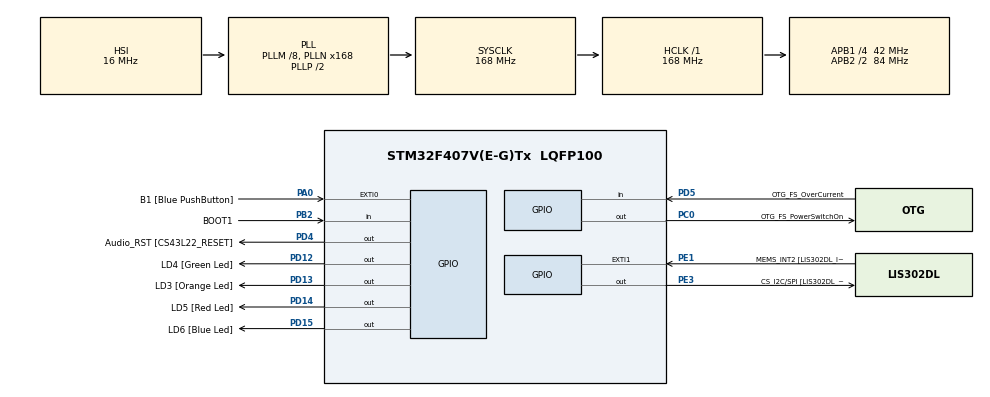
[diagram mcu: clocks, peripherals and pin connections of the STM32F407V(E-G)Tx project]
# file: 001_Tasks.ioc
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Mcu.Family=STM32F4
PA11.GPIO_Speed=GPIO_SPEED_FREQ_LOW
PC3.GPIO_Mode=GPIO_MODE_AF_PP
PD12.GPIO_Label=LD4 [Green Led]
PH0-OSC_IN.Signal=RCC_OSC_IN
VP_SYS_VS_tim6.Mode=TIM6
RCC.CortexFreq_Value=168000000
PC10.GPIO_PuPd=GPIO_NOPULL
PB10.GPIO_Speed=GPIO_SPEED_FREQ_LOW
PB6.GPIO_Mode=GPIO_MODE_AF_OD
PB10.GPIO_PuPd=GPIO_NOPULL
NVIC.TIM6_DAC_IRQn=true\:0\:0\:false\:false\:true\:false\:true
PA10.GPIO_PuPd=GPIO_NOPULL
PD15.GPIO_Speed=GPIO_SPEED_FREQ_LOW
PC10.Signal=I2S3_CK
PC12.Signal=I2S3_SD
PA14.GPIO_Label=SWCLK
PA7.GPIO_Mode=GPIO_MODE_AF_PP
PC0.GPIO_Label=OTG_FS_PowerSwitchOn
PA6.GPIO_Label=SPI1_MISO [LIS302DL_SDO]
PB6.GPIO_Label=Audio_SCL [CS43L22_SCL]
PC10.GPIO_Speed=GPIO_SPEED_FREQ_LOW
PA11.GPIO_PuPd=GPIO_NOPULL
PC15-OSC32_OUT.GPIO_Label=PC15-OSC32_OUT
PC3.GPIO_Speed=GPIO_SPEED_FREQ_LOW
RCC.SYSCLKSource=RCC_SYSCLKSOURCE_PLLCLK
ProjectManager.StackSize=0x400
PA6.GPIO_Mode=GPIO_MODE_AF_PP
PD13.Signal=GPIO_Output
PD14.GPIO_Speed=GPIO_SPEED_FREQ_LOW
PA12.Signal=USB_OTG_FS_DP
RCC.HCLKFreq_Value=168000000
PD4.Signal=GPIO_Output
RCC.APB2TimFreq_Value=168000000
PB6.Signal=I2C1_SCL
PC7.Signal=I2S3_MCK
PC3.Signal=I2S2_SD
PE1.Signal=GPXTI1
RCC.AHBFreq_Value=168000000
PH0-OSC_IN.GPIO_Label=PH0-OSC_IN
PA9.GPIO_Mode=GPIO_MODE_INPUT
RCC.HSE_VALUE=8000000
PA4.GPIO_PuPd=GPIO_NOPULL
PB2.Signal=GPIO_Input
PA4.GPIO_Speed=GPIO_SPEED_FREQ_LOW
PA6.GPIO_PuPd=GPIO_NOPULL
PA5.GPIO_PuPd=GPIO_NOPULL
PA10.GPIO_Label=OTG_FS_ID
PC7.GPIO_Mode=GPIO_MODE_AF_PP
PD5.GPIO_Mode=GPIO_MODE_INPUT
PD14.GPIO_PuPd=GPIO_NOPULL
PB2.GPIO_PuPd=GPIO_NOPULL
PD13.GPIO_Label=LD3 [Orange Led]
Mcu.Package=LQFP100
PB9.Signal=I2C1_SDA
PA6.Signal=SPI1_MISO
NVIC.TimeBase=TIM6_DAC_IRQn
PD12.Signal=GPIO_Output
PD5.GPIO_Label=OTG_FS_OverCurrent
PD15.GPIO_PuPd=GPIO_NOPULL
NVIC.TimeBaseIP=TIM6
PA10.Signal=USB_OTG_FS_ID
PB9.GPIO_PuPd=GPIO_NOPULL
PA10.GPIO_Speed=GPIO_SPEED_FREQ_LOW
RCC.APB2CLKDivider=RCC_HCLK_DIV2
PB9.GPIO_Speed=GPIO_SPEED_FREQ_LOW
RCC.APB1TimFreq_Value=84000000
PC14-OSC32_IN.GPIO_Label=PC14-OSC32_IN
PC12.GPIO_PuPd=GPIO_NOPULL
PA6.GPIO_Speed=GPIO_SPEED_FREQ_LOW
PC0.GPIO_PuPd=GPIO_NOPULL
PA12.GPIO_PuPd=GPIO_NOPULL
PA4.GPIO_Label=I2S3_WS [CS43L22_LRCK]
PD15.Signal=GPIO_Output
PC0.PinState=GPIO_PIN_SET
PA12.GPIO_Speed=GPIO_SPEED_FREQ_LOW
PB3.GPIO_Label=SWO
PD12.GPIO_Speed=GPIO_SPEED_FREQ_LOW
PD15.GPIO_Label=LD6 [Blue Led]
PB9.GPIO_Label=Audio_SDA [CS43L22_SDA]
PC10.GPIO_Label=I2S3_SCK [CS43L22_SCLK]
PA9.GPIO_Label=VBUS_FS
PB6.GPIO_PuPd=GPIO_NOPULL
PA11.GPIO_Label=OTG_FS_DM
PE1.GPIO_PuPd=GPIO_NOPULL
PD5.Signal=GPIO_Input
PC0.Signal=GPIO_Output
PE1.GPIO_ModeDefaultEXTI=GPIO_MODE_EVT_RISING
RCC.APB1CLKDivider=RCC_HCLK_DIV4
PC14-OSC32_IN.Signal=RCC_OSC32_IN
PA9.GPIO_PuPd=GPIO_NOPULL
PA12.GPIO_Label=OTG_FS_DP
PA0-WKUP.GPIO_Label=B1 [Blue PushButton]
PA0-WKUP.Signal=GPXTI0
PA10.GPIO_Mode=GPIO_MODE_AF_PP
PA13.Signal=SYS_JTMS-SWDIO
PC10.GPIO_Mode=GPIO_MODE_AF_PP
PD4.GPIO_PuPd=GPIO_NOPULL
PC0.GPIO_Speed=GPIO_SPEED_FREQ_LOW
PB10.GPIO_Mode=GPIO_MODE_AF_PP
ProjectManager.TargetToolchain=STM32CubeIDE
PB10.GPIO_Label=CLK_IN [MP45DT02_CLK]
PA9.Signal=USB_OTG_FS_VBUS
PC7.GPIO_PuPd=GPIO_NOPULL
RCC.LSE_VALUE=32768
PC15-OSC32_OUT.Signal=RCC_OSC32_OUT
PA7.GPIO_PuPd=GPIO_NOPULL
PB10.Signal=I2S2_CK
PA5.Signal=SPI1_SCK
board=STM32F407G-DISC1
PD13.GPIO_Speed=GPIO_SPEED_FREQ_LOW
PC7.GPIO_Speed=GPIO_SPEED_FREQ_LOW
RCC.VCOOutputFreq_Value=336000000
PE1.GPIO_Label=MEMS_INT2 [LIS302DL_INT2]
PA7.GPIO_Speed=GPIO_SPEED_FREQ_LOW
PB9.GPIO_Mode=GPIO_MODE_AF_OD
PA12.GPIO_Mode=GPIO_MODE_AF_PP
PA4.GPIO_Mode=GPIO_MODE_AF_PP
RCC.APB2Freq_Value=84000000
PB2.GPIO_Mode=GPIO_MODE_INPUT
PD4.GPIO_Label=Audio_RST [CS43L22_RESET]
PD4.GPIO_Speed=GPIO_SPEED_FREQ_LOW
PE3.GPIO_PuPd=GPIO_NOPULL
PH1-OSC_OUT.Signal=RCC_OSC_OUT
PD13.GPIO_PuPd=GPIO_NOPULL
PD5.GPIO_PuPd=GPIO_NOPULL
PD14.GPIO_Label=LD5 [Red Led]
PH1-OSC_OUT.GPIO_Label=PH1-OSC_OUT
Mcu.Name=STM32F407V(E-G)Tx
PA13.GPIO_Label=SWDIO
PC7.GPIO_Label=I2S3_MCK [CS43L22_MCLK]
PD14.Signal=GPIO_Output
RCC.48MHZClocksFreq_Value=48000000
PB3.Signal=SYS_JTDO-SWO
PA4.Signal=I2S3_WS
RCC.SYSCLKFreq_VALUE=168000000
PC12.GPIO_Mode=GPIO_MODE_AF_PP
PA7.GPIO_Label=SPI1_MOSI [LIS302DL_SDA/SDI/SDO]
PA5.GPIO_Label=SPI1_SCK [LIS302DL_SCL/SPC]
PE3.GPIO_Speed=GPIO_SPEED_FREQ_LOW
PC12.GPIO_Label=I2S3_SD [CS43L22_SDIN]
PA11.Signal=USB_OTG_FS_DM
PA14.Signal=SYS_JTCK-SWCLK
PB2.GPIO_Label=BOOT1
ProjectManager.HeapSize=0x200
RCC.HSI_VALUE=16000000
PA5.GPIO_Speed=GPIO_SPEED_FREQ_LOW
RCC.PLLQ=7
NVIC.PriorityGroup=NVIC_PRIORITYGROUP_4
RCC.PLLM=8
RCC.PLLN=168
PE3.Signal=GPIO_Output
PE3.GPIO_Label=CS_I2C/SPI [LIS302DL_CS_I2C/SPI]
PC3.GPIO_Label=PDM_OUT [MP45DT02_DOUT]
PA11.GPIO_Mode=GPIO_MODE_AF_PP
PB6.GPIO_Speed=GPIO_SPEED_FREQ_LOW
RCC.APB1Freq_Value=42000000
PA5.GPIO_Mode=GPIO_MODE_AF_PP
PC12.GPIO_Speed=GPIO_SPEED_FREQ_LOW
PC3.GPIO_PuPd=GPIO_NOPULL
PD12.GPIO_PuPd=GPIO_NOPULL
PA7.Signal=SPI1_MOSI

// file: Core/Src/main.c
/* USER CODE BEGIN Header */
/**
  ******************************************************************************
  * @file           : main.c
  * @brief          : Main program body
  ******************************************************************************
  * @attention
  *
  * <h2><center>&copy; Copyright (c) 2021 STMicroelectronics.
  * All rights reserved.</center></h2>
  *
  * This software component is licensed by ST under BSD 3-Clause license,
  * the "License"; You may not use this file except in compliance with the
  * License. You may obtain a copy of the License at:
  *                        opensource.org/licenses/BSD-3-Clause
  *
  ******************************************************************************
  */
/* USER CODE END Header */
#include "main.h"

/* USER CODE BEGIN Includes */
#include <stdio.h>
#include "FreeRTOS.h"
#include "task.h"
/* USER CODE END Includes */

/* USER CODE BEGIN PV */
#define DWT_CTRL	(*(volatile uint32_t*)0xE0001000) //Control register to enable cycling counting

/* USER CODE END PV */

void SystemClock_Config(void);
static void MX_GPIO_Init(void);
/* USER CODE BEGIN PFP */
static void task1_handler(void *param);
static void task2_handler(void *param);
/* USER CODE END PFP */

int main(void)
{
  /* USER CODE BEGIN 1 */
	TaskHandle_t hTask1;
	TaskHandle_t hTask2;
	BaseType_t ret;

  /* USER CODE END 1 */

  /* MCU Configuration--------------------------------------------------------*/

  /* Reset of all peripherals, Initializes the Flash interface and the Systick. */
  HAL_Init();

  /* Configure the system clock */
  SystemClock_Config();

  /* Initialize all configured peripherals */
  MX_GPIO_Init();
  /* USER CODE BEGIN 2 */

  // Enable cyclic counting by setting 1st bit to 1 in DWT_CTRL register
  DWT_CTRL |= (1 << 0);

  // Enable UART with 500K baudrate
  SEGGER_UART_init(500000);

  // Configure and then start the recording of events
  SEGGER_SYSVIEW_Conf();
  //SEGGER_SYSVIEW_Start(); // commented bcoz already done above in SEGGER_UART_init

  ret = xTaskCreate(task1_handler, "Task-1", 50, "Hello World from Task-1!", 2, &hTask1);
  configASSERT(ret == pdPASS);

  ret = xTaskCreate(task2_handler, "Task-2", 50, "Hello World from Task-2!", 2, &hTask2);
  configASSERT(ret == pdPASS);

  vTaskStartScheduler();//never returns unless there is not enough heap

  printf("errCOULD_NOT_ALLOCATE_REQUIRED_MEMORY\n");
  /* USER CODE END 2 */

  /* Infinite loop */
  while (1)
  {

  }
}

void SystemClock_Config(void)
{
  RCC_OscInitTypeDef RCC_OscInitStruct = {0};
  RCC_ClkInitTypeDef RCC_ClkInitStruct = {0};

  /** Configure the main internal regulator output voltage
  */
  __HAL_RCC_PWR_CLK_ENABLE();
  __HAL_PWR_VOLTAGESCALING_CONFIG(PWR_REGULATOR_VOLTAGE_SCALE1);
  /** Initializes the RCC Oscillators according to the specified parameters
  * in the RCC_OscInitTypeDef structure.
  */
  RCC_OscInitStruct.OscillatorType = RCC_OSCILLATORTYPE_HSI;
  RCC_OscInitStruct.HSIState = RCC_HSI_ON;
  RCC_OscInitStruct.HSICalibrationValue = RCC_HSICALIBRATION_DEFAULT;
  RCC_OscInitStruct.PLL.PLLState = RCC_PLL_ON;
  RCC_OscInitStruct.PLL.PLLSource = RCC_PLLSOURCE_HSI;
  RCC_OscInitStruct.PLL.PLLM = 8;
  RCC_OscInitStruct.PLL.PLLN = 168;
  RCC_OscInitStruct.PLL.PLLP = RCC_PLLP_DIV2;
  RCC_OscInitStruct.PLL.PLLQ = 7;
  if (HAL_RCC_OscConfig(&RCC_OscInitStruct) != HAL_OK)
  {
    Error_Handler();
  }
  /** Initializes the CPU, AHB and APB buses clocks
  */
  RCC_ClkInitStruct.ClockType = RCC_CLOCKTYPE_HCLK|RCC_CLOCKTYPE_SYSCLK
                              |RCC_CLOCKTYPE_PCLK1|RCC_CLOCKTYPE_PCLK2;
  RCC_ClkInitStruct.SYSCLKSource = RCC_SYSCLKSOURCE_PLLCLK;
  RCC_ClkInitStruct.AHBCLKDivider = RCC_SYSCLK_DIV1;
  RCC_ClkInitStruct.APB1CLKDivider = RCC_HCLK_DIV4;
  RCC_ClkInitStruct.APB2CLKDivider = RCC_HCLK_DIV2;

  if (HAL_RCC_ClockConfig(&RCC_ClkInitStruct, FLASH_LATENCY_5) != HAL_OK)
  {
    Error_Handler();
  }
}

static void MX_GPIO_Init(void)
{
  GPIO_InitTypeDef GPIO_InitStruct = {0};

  /* GPIO Ports Clock Enable */
  __HAL_RCC_GPIOE_CLK_ENABLE();
  __HAL_RCC_GPIOC_CLK_ENABLE();
  __HAL_RCC_GPIOH_CLK_ENABLE();
  __HAL_RCC_GPIOA_CLK_ENABLE();
  __HAL_RCC_GPIOB_CLK_ENABLE();
  __HAL_RCC_GPIOD_CLK_ENABLE();

  /*Configure GPIO pin Output Level */
  HAL_GPIO_WritePin(CS_I2C_SPI_GPIO_Port, CS_I2C_SPI_Pin, GPIO_PIN_RESET);

  /*Configure GPIO pin Output Level */
  HAL_GPIO_WritePin(OTG_FS_PowerSwitchOn_GPIO_Port, OTG_FS_PowerSwitchOn_Pin, GPIO_PIN_SET);

  /*Configure GPIO pin Output Level */
  HAL_GPIO_WritePin(GPIOD, LD4_Pin|LD3_Pin|LD5_Pin|LD6_Pin
                          |Audio_RST_Pin, GPIO_PIN_RESET);

  /*Configure GPIO pin : CS_I2C_SPI_Pin */
  GPIO_InitStruct.Pin = CS_I2C_SPI_Pin;
  GPIO_InitStruct.Mode = GPIO_MODE_OUTPUT_PP;
  GPIO_InitStruct.Pull = GPIO_NOPULL;
  GPIO_InitStruct.Speed = GPIO_SPEED_FREQ_LOW;
  HAL_GPIO_Init(CS_I2C_SPI_GPIO_Port, &GPIO_InitStruct);

  /*Configure GPIO pin : OTG_FS_PowerSwitchOn_Pin */
  GPIO_InitStruct.Pin = OTG_FS_PowerSwitchOn_Pin;
  GPIO_InitStruct.Mode = GPIO_MODE_OUTPUT_PP;
  GPIO_InitStruct.Pull = GPIO_NOPULL;
  GPIO_InitStruct.Speed = GPIO_SPEED_FREQ_LOW;
  HAL_GPIO_Init(OTG_FS_PowerSwitchOn_GPIO_Port, &GPIO_InitStruct);

  /*Configure GPIO pin : PDM_OUT_Pin */
  GPIO_InitStruct.Pin = PDM_OUT_Pin;
  GPIO_InitStruct.Mode = GPIO_MODE_AF_PP;
  GPIO_InitStruct.Pull = GPIO_NOPULL;
  GPIO_InitStruct.Speed = GPIO_SPEED_FREQ_LOW;
  GPIO_InitStruct.Alternate = GPIO_AF5_SPI2;
  HAL_GPIO_Init(PDM_OUT_GPIO_Port, &GPIO_InitStruct);

  /*Configure GPIO pin : B1_Pin */
  GPIO_InitStruct.Pin = B1_Pin;
  GPIO_InitStruct.Mode = GPIO_MODE_IT_RISING;
  GPIO_InitStruct.Pull = GPIO_NOPULL;
  HAL_GPIO_Init(B1_GPIO_Port, &GPIO_InitStruct);

  /*Configure GPIO pin : I2S3_WS_Pin */
  GPIO_InitStruct.Pin = I2S3_WS_Pin;
  GPIO_InitStruct.Mode = GPIO_MODE_AF_PP;
  GPIO_InitStruct.Pull = GPIO_NOPULL;
  GPIO_InitStruct.Speed = GPIO_SPEED_FREQ_LOW;
  GPIO_InitStruct.Alternate = GPIO_AF6_SPI3;
  HAL_GPIO_Init(I2S3_WS_GPIO_Port, &GPIO_InitStruct);

  /*Configure GPIO pins : SPI1_SCK_Pin SPI1_MISO_Pin SPI1_MOSI_Pin */
  GPIO_InitStruct.Pin = SPI1_SCK_Pin|SPI1_MISO_Pin|SPI1_MOSI_Pin;
  GPIO_InitStruct.Mode = GPIO_MODE_AF_PP;
  GPIO_InitStruct.Pull = GPIO_NOPULL;
  GPIO_InitStruct.Speed = GPIO_SPEED_FREQ_LOW;
  GPIO_InitStruct.Alternate = GPIO_AF5_SPI1;
  HAL_GPIO_Init(GPIOA, &GPIO_InitStruct);

  /*Configure GPIO pin : BOOT1_Pin */
  GPIO_InitStruct.Pin = BOOT1_Pin;
  GPIO_InitStruct.Mode = GPIO_MODE_INPUT;
  GPIO_InitStruct.Pull = GPIO_NOPULL;
  HAL_GPIO_Init(BOOT1_GPIO_Port, &GPIO_InitStruct);

  /*Configure GPIO pin : CLK_IN_Pin */
  GPIO_InitStruct.Pin = CLK_IN_Pin;
  GPIO_InitStruct.Mode = GPIO_MODE_AF_PP;
  GPIO_InitStruct.Pull = GPIO_NOPULL;
  GPIO_InitStruct.Speed = GPIO_SPEED_FREQ_LOW;
  GPIO_InitStruct.Alternate = GPIO_AF5_SPI2;
  HAL_GPIO_Init(CLK_IN_GPIO_Port, &GPIO_InitStruct);

  /*Configure GPIO pins : LD4_Pin LD3_Pin LD5_Pin LD6_Pin
                           Audio_RST_Pin */
  GPIO_InitStruct.Pin = LD4_Pin|LD3_Pin|LD5_Pin|LD6_Pin
                          |Audio_RST_Pin;
  GPIO_InitStruct.Mode = GPIO_MODE_OUTPUT_PP;
  GPIO_InitStruct.Pull = GPIO_NOPULL;
  GPIO_InitStruct.Speed = GPIO_SPEED_FREQ_LOW;
  HAL_GPIO_Init(GPIOD, &GPIO_InitStruct);

  /*Configure GPIO pins : I2S3_MCK_Pin I2S3_SCK_Pin I2S3_SD_Pin */
  GPIO_InitStruct.Pin = I2S3_MCK_Pin|I2S3_SCK_Pin|I2S3_SD_Pin;
  GPIO_InitStruct.Mode = GPIO_MODE_AF_PP;
  GPIO_InitStruct.Pull = GPIO_NOPULL;
  GPIO_InitStruct.Speed = GPIO_SPEED_FREQ_LOW;
  GPIO_InitStruct.Alternate = GPIO_AF6_SPI3;
  HAL_GPIO_Init(GPIOC, &GPIO_InitStruct);

  /*Configure GPIO pin : VBUS_FS_Pin */
  GPIO_InitStruct.Pin = VBUS_FS_Pin;
  GPIO_InitStruct.Mode = GPIO_MODE_INPUT;
  GPIO_InitStruct.Pull = GPIO_NOPULL;
  HAL_GPIO_Init(VBUS_FS_GPIO_Port, &GPIO_InitStruct);

  /*Configure GPIO pins : OTG_FS_ID_Pin OTG_FS_DM_Pin OTG_FS_DP_Pin */
  GPIO_InitStruct.Pin = OTG_FS_ID_Pin|OTG_FS_DM_Pin|OTG_FS_DP_Pin;
  GPIO_InitStruct.Mode = GPIO_MODE_AF_PP;
  GPIO_InitStruct.Pull = GPIO_NOPULL;
  GPIO_InitStruct.Speed = GPIO_SPEED_FREQ_LOW;
  GPIO_InitStruct.Alternate = GPIO_AF10_OTG_FS;
  HAL_GPIO_Init(GPIOA, &GPIO_InitStruct);

  /*Configure GPIO pin : OTG_FS_OverCurrent_Pin */
  GPIO_InitStruct.Pin = OTG_FS_OverCurrent_Pin;
  GPIO_InitStruct.Mode = GPIO_MODE_INPUT;
  GPIO_InitStruct.Pull = GPIO_NOPULL;
  HAL_GPIO_Init(OTG_FS_OverCurrent_GPIO_Port, &GPIO_InitStruct);

  /*Configure GPIO pins : Audio_SCL_Pin Audio_SDA_Pin */
  GPIO_InitStruct.Pin = Audio_SCL_Pin|Audio_SDA_Pin;
  GPIO_InitStruct.Mode = GPIO_MODE_AF_OD;
  GPIO_InitStruct.Pull = GPIO_PULLUP;
  GPIO_InitStruct.Speed = GPIO_SPEED_FREQ_LOW;
  GPIO_InitStruct.Alternate = GPIO_AF4_I2C1;
  HAL_GPIO_Init(GPIOB, &GPIO_InitStruct);

  /*Configure GPIO pin : MEMS_INT2_Pin */
  GPIO_InitStruct.Pin = MEMS_INT2_Pin;
  GPIO_InitStruct.Mode = GPIO_MODE_EVT_RISING;
  GPIO_InitStruct.Pull = GPIO_NOPULL;
  HAL_GPIO_Init(MEMS_INT2_GPIO_Port, &GPIO_InitStruct);

}

/* USER CODE BEGIN 4 */
static void task1_handler(void *param)
{
	char msg[100];
	while(1)
	{
		//printf("%s \n", (char *)param);
		//taskYIELD();
		snprintf(msg, 100, "%s\n", (char *)param);
		SEGGER_SYSVIEW_PrintfTarget(msg);
		taskYIELD();
	}
}

static void task2_handler(void *param)
{
	char msg[100];
	while(1)
	{
		//printf("%s \n", (char *)param);
		//taskYIELD();
		snprintf(msg, 100, "%s\n", (char *)param);
		SEGGER_SYSVIEW_PrintfTarget(msg);
		taskYIELD();
	}
}
/* USER CODE END 4 */

 /**
  * @brief  Period elapsed callback in non blocking mode
  * @note   This function is called  when TIM6 interrupt took place, inside
  * HAL_TIM_IRQHandler(). It makes a direct call to HAL_IncTick() to increment
  * a global variable "uwTick" used as application time base.
  * @param  htim : TIM handle
  * @retval None
  */
void HAL_TIM_PeriodElapsedCallback(TIM_HandleTypeDef *htim)
{
  if (htim->Instance == TIM6) {
    HAL_IncTick();
  }
}

void Error_Handler(void)
{
  __disable_irq();
  while (1)
  {
  }
}

/************************ (C) COPYRIGHT STMicroelectronics *****END OF FILE****/
